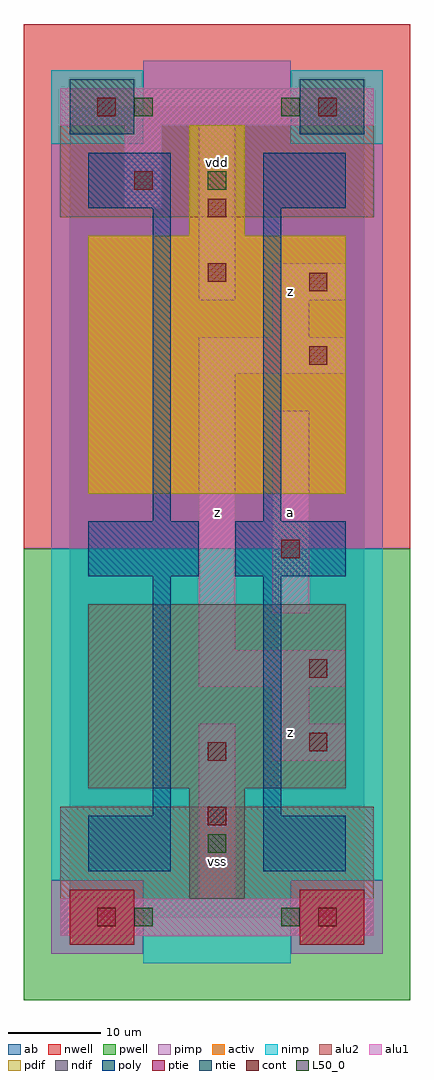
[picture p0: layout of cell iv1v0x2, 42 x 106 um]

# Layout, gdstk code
import gdstk
lib = gdstk.Library(unit=1e-6, precision=1e-09)
def R(c, l, rs):  # rectangles x0, y0, x1, y1
    for r in rs: c.add(gdstk.rectangle(r[:2], r[2:], *l))
ndif = (3, 0)
pdif = (4, 0)
ntie = (5, 0)
ptie = (6, 0)
cont = (25, 0)
pwell = (41, 0)
nwell = (42, 0)
activ = (43, 0)
pimp = (44, 0)
nimp = (45, 0)
poly = (46, 0)
alu1 = (49, 0)
L50_0 = (50, 0)
alu2 = (51, 0)
ab = (63, 0)

iv1v0x2 = lib.new_cell('iv1v0x2')
R(iv1v0x2, ndif, [(13,2,19,14), (2,14,30,34)])
R(iv1v0x2, pdif, [(2,46,30,74), (13,74,19,86)])
R(iv1v0x2, ntie, [(0,85,7,91), (25,85,32,91)])
R(iv1v0x2, ptie, [(0,-3,7,3), (25,-3,32,3)])
R(iv1v0x2, cont, [(3,-1,5,1), (27,-1,29,1), (15,10,17,12), (15,17,17,19), (26,18,28,20), (26,26,28,28), (23,39,25,41), (26,60,28,62), (26,68,28,70), (15,69,17,71), (15,76,17,78), (7,79,9,81), (3,87,5,89), (27,87,29,89)])
R(iv1v0x2, pwell, [(-5,-9,37,40)])
R(iv1v0x2, nwell, [(-5,40,37,97)])
R(iv1v0x2, activ, [(0,-3,7,3), (25,-3,32,3), (13,2,19,14), (2,14,30,34), (2,46,30,74), (13,74,19,86), (0,85,7,91), (25,85,32,91)])
R(iv1v0x2, pimp, [(-2,-4,8,4), (24,-4,34,4), (-2,40,34,84), (8,84,24,93)])
R(iv1v0x2, nimp, [(8,-5,24,4), (-2,4,34,40), (-2,84,8,92), (24,84,34,92)])
R(iv1v0x2, poly, [(2,5,11,11), (21,5,30,11), (9,11,11,37), (21,11,23,37), (2,37,14,43), (18,37,30,43), (9,43,11,77), (21,43,23,77), (2,77,11,83), (21,77,30,83)])
R(iv1v0x2, alu1, [(-1,-2,33,2), (14,2,18,21), (22,17,30,21), (22,21,26,25), (14,25,30,29), (14,29,18,59), (22,33,26,55), (14,59,30,63), (22,63,26,67), (14,67,18,86), (22,67,30,71), (6,77,10,86), (-1,86,33,90)])
R(iv1v0x2, L50_0, [(7,-1,9,1), (23,-1,25,1), (15,7,17,9), (15,79,17,81), (7,87,9,89), (23,87,25,89)])
R(iv1v0x2, alu2, [(-1,-2,33,12), (-1,76,33,90)])
R(iv1v0x2, ab, [(0,0,32,88)])
iv1v0x2.add(gdstk.Label('z', (16,44), layer=49, texttype=0))
iv1v0x2.add(gdstk.Label('z', (24,20), layer=49, texttype=0))
iv1v0x2.add(gdstk.Label('a', (24,44), layer=49, texttype=0))
iv1v0x2.add(gdstk.Label('z', (24,68), layer=49, texttype=0))
iv1v0x2.add(gdstk.Label('vss', (16,6), layer=51, texttype=0))
iv1v0x2.add(gdstk.Label('vdd', (16,82), layer=51, texttype=0))

lib.write_gds('iv1v0x2.gds')
